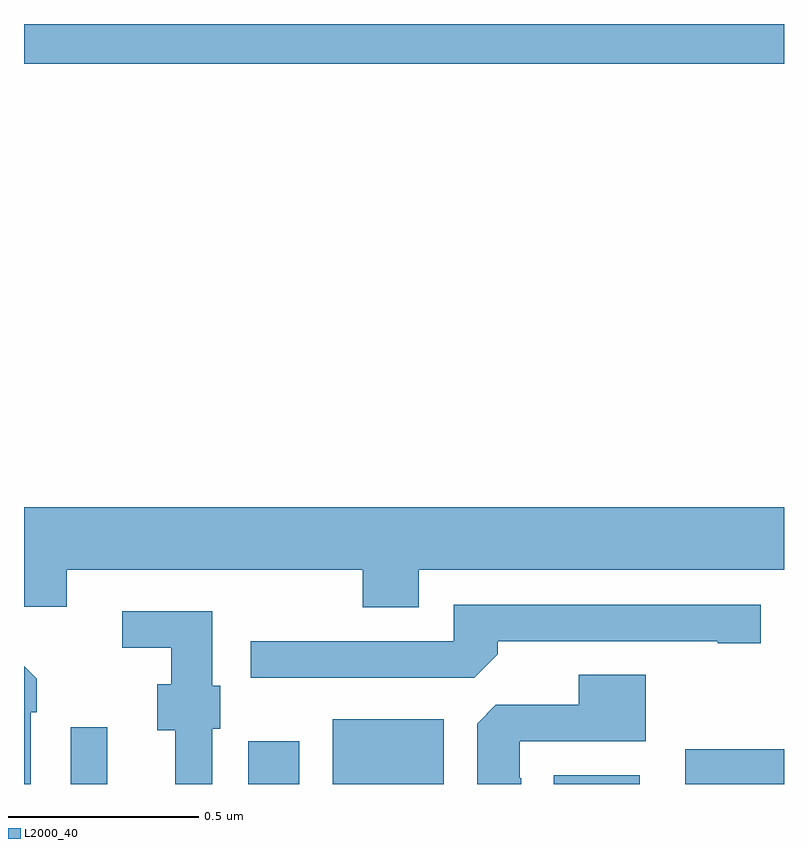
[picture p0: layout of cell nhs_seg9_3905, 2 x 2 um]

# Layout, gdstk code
import gdstk
lib = gdstk.Library(unit=1e-6, precision=1e-09)
def R(c, l, rs):  # rectangles x0, y0, x1, y1
    for r in rs: c.add(gdstk.rectangle(r[:2], r[2:], *l))
def P(c, l, *ps):  # polygons
    for p in ps: c.add(gdstk.Polygon(p, *l))
L2000_40 = (2000, 40)

nhs_seg9_3905 = lib.new_cell('nhs_seg9_3905')
R(nhs_seg9_3905, L2000_40, [(159.123,1218.5,159.219,1218.649), (159.59,1218.5,159.724,1218.613), (159.812,1218.5,160.105,1218.67), (160.394,1218.5,160.621,1218.523), (160.74,1218.5,161,1218.592), (159,1220.396,161,1220.5)])
P(nhs_seg9_3905, L2000_40, [(160.039,1219.064),(161,1219.064),(161,1219.228),(159,1219.228),(159,1218.966),(159.112,1218.966),(159.112,1219.064),(159.892,1219.064),(159.892,1218.965),(160.039,1218.965)],
  [(160.247,1218.842),(160.247,1218.876),(160.826,1218.876),(160.826,1218.871),(160.939,1218.871),(160.939,1218.972),(160.131,1218.972),(160.131,1218.876),(159.597,1218.876),(159.597,1218.78),(160.185,1218.78)],
  [(159.495,1218.645),(159.516,1218.645),(159.516,1218.759),(159.495,1218.759),(159.495,1218.954),(159.258,1218.954),(159.258,1218.858),(159.387,1218.858),(159.387,1218.763),(159.35,1218.763),(159.35,1218.641),(159.398,1218.641),(159.398,1218.5),(159.495,1218.5)],
  [(159.018,1218.689),(159.033,1218.689),(159.033,1218.777),(159,1218.81),(159,1218.5),(159.018,1218.5)],
  [(160.309,1218.515),(160.305,1218.515),(160.305,1218.612),(160.636,1218.612),(160.636,1218.787),(160.46,1218.787),(160.46,1218.708),(160.242,1218.708),(160.193,1218.659),(160.193,1218.5),(160.309,1218.5)])

lib.write_gds('nhs_seg9_3905.gds')
